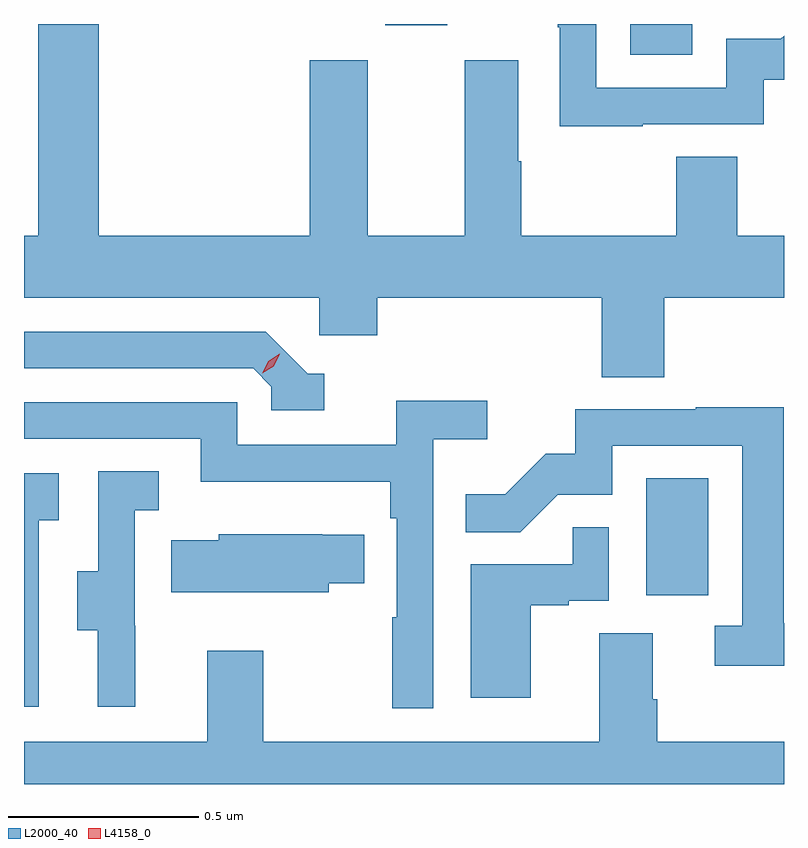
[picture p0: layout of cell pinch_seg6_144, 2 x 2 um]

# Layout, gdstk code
import gdstk
lib = gdstk.Library(unit=1e-6, precision=1e-09)
def R(c, l, rs):  # rectangles x0, y0, x1, y1
    for r in rs: c.add(gdstk.rectangle(r[:2], r[2:], *l))
def P(c, l, *ps):  # polygons
    for p in ps: c.add(gdstk.Polygon(p, *l))
L2000_40 = (2000, 40)
L4158_0 = (4158, 0)

pinch_seg6_144 = lib.new_cell('pinch_seg6_144')
R(pinch_seg6_144, L2000_40, [(1014.29,921.246,1014.454,921.553), (1014.248,922.668,1014.412,922.749), (1013.603,922.746,1013.767,922.749)])
P(pinch_seg6_144, L2000_40, [(1014.338,922.028),(1014.653,922.028),(1014.653,922.192),(1014.53,922.192),(1014.53,922.4),(1014.37,922.4),(1014.37,922.192),(1013.961,922.192),(1013.961,922.388),(1013.953,922.388),(1013.953,922.654),(1013.813,922.654),(1013.813,922.192),(1013.557,922.192),(1013.557,922.654),(1013.405,922.654),(1013.405,922.192),(1012.85,922.192),(1012.85,922.749),(1012.69,922.749),(1012.69,922.192),(1012.653,922.192),(1012.653,922.028),(1013.43,922.028),(1013.43,921.93),(1013.582,921.93),(1013.582,922.028),(1014.173,922.028),(1014.173,921.82),(1014.338,921.82)],
  [(1014.281,922.485),(1014.6,922.485),(1014.6,922.602),(1014.653,922.602),(1014.653,922.718),(1014.645,922.71),(1014.501,922.71),(1014.501,922.581),(1014.159,922.581),(1014.159,922.749),(1014.058,922.749),(1014.058,922.741),(1014.063,922.741),(1014.063,922.48),(1014.281,922.48)],
  [(1013.443,921.828),(1013.4,921.828),(1013.289,921.939),(1012.653,921.939),(1012.653,921.843),(1013.256,921.843),(1013.304,921.795),(1013.304,921.732),(1013.443,921.732)],
  [(1013.73,921.656),(1013.872,921.656),(1013.872,921.758),(1013.633,921.758),(1013.633,921.642),(1013.214,921.642),(1013.214,921.753),(1012.653,921.753),(1012.653,921.657),(1013.118,921.657),(1013.118,921.545),(1013.617,921.545),(1013.617,921.449),(1013.634,921.449),(1013.634,921.188),(1013.622,921.188),(1013.622,920.949),(1013.73,920.949)],
  [(1014.653,921.172),(1014.652,921.172),(1014.652,921.74),(1014.421,921.74),(1014.421,921.735),(1014.103,921.735),(1014.103,921.618),(1014.026,921.618),(1013.919,921.511),(1013.815,921.511),(1013.815,921.412),(1013.959,921.412),(1014.057,921.51),(1014.201,921.51),(1014.201,921.639),(1014.543,921.639),(1014.543,921.165),(1014.471,921.165),(1014.471,921.06),(1014.653,921.06)],
  [(1012.946,921.165),(1012.944,921.165),(1012.944,921.469),(1013.008,921.469),(1013.008,921.572),(1012.848,921.572),(1012.848,921.309),(1012.793,921.309),(1012.793,921.154),(1012.847,921.154),(1012.847,920.952),(1012.946,920.952)],
  [(1012.692,921.443),(1012.744,921.443),(1012.744,921.567),(1012.653,921.567),(1012.653,920.952),(1012.692,920.952)],
  [(1013.986,921.219),(1014.086,921.219),(1014.086,921.231),(1014.192,921.231),(1014.192,921.425),(1014.097,921.425),(1014.097,921.327),(1013.828,921.327),(1013.828,920.976),(1013.986,920.976)],
  [(1013.455,921.277),(1013.549,921.277),(1013.549,921.405),(1013.438,921.405),(1013.438,921.406),(1013.166,921.406),(1013.166,921.391),(1013.041,921.391),(1013.041,921.254),(1013.455,921.254)],
  [(1014.653,920.86),(1014.32,920.86),(1014.32,920.972),(1014.307,920.972),(1014.307,921.146),(1014.167,921.146),(1014.167,920.86),(1013.283,920.86),(1013.283,921.1),(1013.135,921.1),(1013.135,920.86),(1012.653,920.86),(1012.653,920.749),(1014.653,920.749)])
P(pinch_seg6_144, L4158_0, [(1013.28,921.83),(1013.28,921.83),(1013.296,921.862),(1013.326,921.881),(1013.326,921.881),(1013.326,921.881),(1013.31,921.849),(1013.28,921.83)])

lib.write_gds('pinch_seg6_144.gds')
